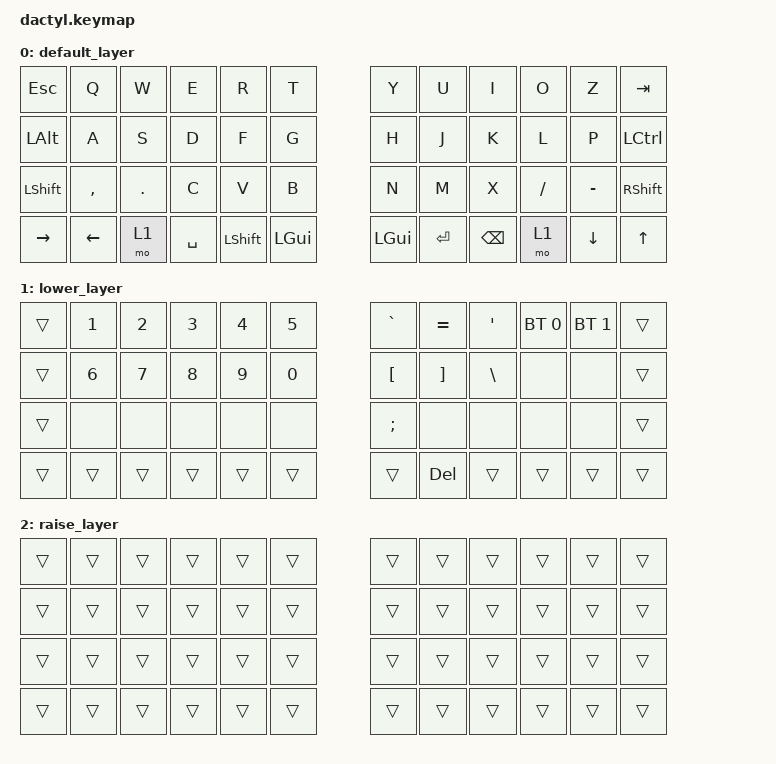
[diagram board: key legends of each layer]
/*
 * Copyright (c) 2020 The ZMK Contributors
 *
 * SPDX-License-Identifier: MIT
 */

#include <behaviors.dtsi>
#include <dt-bindings/zmk/keys.h>
#include <dt-bindings/zmk/bt.h>

/ {
        keymap {
                compatible = "zmk,keymap";

                default_layer {
// -----------------------------------------------------------------------------------------
// |  TAB |  Q  |  W  |  E  |  R  |  T  |   |  Y  |  U   |  I  |  O  |  P  | BSPC |
// | CTRL |  A  |  S  |  D  |  F  |  G  |   |  H  |  J   |  K  |  L  |  ;  |  '   |
// | SHFT |  Z  |  X  |  C  |  V  |  B  |   |  N  |  M   |  ,  |  .  |  /  | ESC  |
//                    | GUI | LWR | SPC |   | ENT | RSE  | ALT |
                        bindings = <
   &kp ESC   &kp Q &kp W &kp E &kp R &kp T   &kp Y &kp U  &kp I     &kp O   &kp Z    &kp TAB 
   &kp LALT &kp A &kp S &kp D &kp F &kp G   &kp H &kp J  &kp K     &kp L   &kp P &kp LCTRL 
   &kp LSHFT &kp COMMA &kp DOT &kp C &kp V &kp B   &kp N &kp M  &kp X &kp FSLH &kp MINUS &kp RSHFT
   &kp RIGHT  &kp LEFT &mo 1 &kp SPACE &kp LSHFT &kp LGUI   &kp LGUI &kp RET &kp BSPC &mo 1 &kp DOWN &kp UP 
   
                        >;
                };
                lower_layer {
// -----------------------------------------------------------------------------------------
// |  TAB |  1  |  2  |  3  |  4  |  5  |   |  6  |  7  |  8  |  9  |  0  | BSPC |
// | BTCLR| BT1 | BT2 | BT3 | BT4 | BT5 |   | LFT | DWN |  UP | RGT |     |      |
// | SHFT |     |     |     |     |     |   |     |     |     |     |     |      |
//                    | GUI |     | SPC |   | ENT |     | ALT |
                        bindings = <
   &trans &kp N1       &kp N2       &kp N3       &kp N4       &kp N5 &kp GRAVE &kp EQUAL &kp SQT &bt BT_SEL 0 &bt BT_SEL 1 &trans
   &trans  &kp N6   &kp N7   &kp N8 &kp N9    &kp N0 &kp LBKT &kp RBKT &kp BSLH &none &none &trans
   &trans &none &none &none &none &none &kp SEMI &none &none &none &none &trans
   &trans &trans &trans &trans &trans &trans &trans &kp DEL &trans &trans &trans &trans
                        >;
                };

                raise_layer {
// -----------------------------------------------------------------------------------------
// |  TAB |  !  |  @  |  #  |  $  |  %  |   |  ^  |  &  |  *  |  (  |  )  | BSPC |
// | CTRL |     |     |     |     |     |   |  -  |  =  |  [  |  ]  |  \  |  `   |
// | SHFT |     |     |     |     |     |   |  _  |  +  |  {  |  }  | "|" |  ~   |
//                    | GUI |     | SPC |   | ENT |     | ALT |
                        bindings = <
   &trans &trans &trans &trans &trans &trans &trans &trans &trans &trans &trans &trans
   &trans &trans &trans &trans &trans &trans &trans &trans &trans &trans &trans &trans
   &trans &trans &trans &trans &trans &trans &trans &trans &trans &trans &trans &trans
   &trans &trans &trans &trans &trans &trans &trans &trans &trans &trans &trans &trans
                        >;
                };
        };
};
